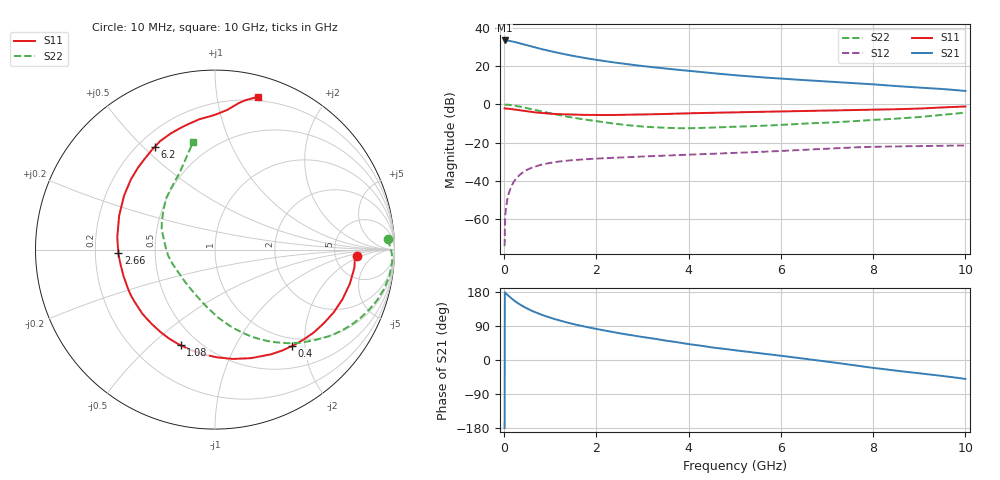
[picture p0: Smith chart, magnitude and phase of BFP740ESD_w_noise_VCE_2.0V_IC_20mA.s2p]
! Infineon Technologies  Discrete & RF Semiconductors
! BFP740ESD
! VCE =  2.0 V,  IC =  20 mA
! Common Emitter S-Parameters:  Jan 2016
# GHz  S  MA  R  50
!  f  S11  S21  S12  S22
! GHz  MAG  ANG  MAG  ANG  MAG  ANG  MAG  ANG
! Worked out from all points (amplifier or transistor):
!   233 points, 10 MHz to 10 GHz, reference 50 ohm
!   highest |S21| = 33.4 dB at 10 MHz (marker M1)
!   |S21| within 3 dB of that: start of sweep to 566.4 MHz
!   unconditionally stable (mu >= 1): 4.541 GHz to 7.656 GHz; 8.194 GHz to 8.668 GHz
!   at 200 MHz: K = 0.14, MSG = 36.8 dB, |S12| = -40.7 dB
!   at 1.74 GHz: K = 0.58, MSG = 26.5 dB, |S12| = -28.6 dB
!   at 10 GHz: K = 0.74, MSG = 14.2 dB, |S12| = -21.4 dB
!   lowest NFmin = 0.79 dB at 450 MHz
!   S11 on the Smith chart (normalised r, x): 10 MHz: 8.44, -1.52; 400 MHz: 0.86, -1.75; 1.08 GHz: 0.40, -0.63; 2.66 GHz: 0.30, -0.02; 6.2 GHz: 0.26, +0.54; 10 GHz: 0.17, +1.31
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0.01  0.7941 -2.4  46.86 -179.6  0.0002 123.7  0.9662 3.4
0.02  0.781 -2.9  46.38 177.8  0.0011 85.4  0.9854 -1.2
0.07  0.7785 -10.1  46.15 172.1  0.0034 82.9  0.9857 -6.0
0.1  0.775 -14.3  46.01 168.9  0.0048 83.0  0.9824 -8.8
0.2  0.7486 -27.7  43.64 158.5  0.0092 76.0  0.946 -17.4
0.3  0.7185 -40.0  40.63 149.6  0.0131 70.3  0.8976 -24.8
0.4  0.6881 -51.3  37.64 142.2  0.0166 64.8  0.8464 -31.5
0.5  0.6614 -61.9  34.87 135.7  0.0198 60.4  0.7959 -37.4
0.7  0.6175 -80.6  30.15 124.7  0.0247 52.9  0.7034 -47.5
0.9  0.5869 -96.8  26.32 115.6  0.0285 47.0  0.6238 -56.1
1.08  0.5665 -109.6  23.47 108.7  0.031 42.9  0.5616 -62.9
1.38  0.5461 -127.8  19.71 98.4  0.0342 37.5  0.4782 -72.9
1.68  0.5361 -142.4  16.92 90.0  0.0366 33.9  0.4164 -81.3
2.2  0.5308 -163.0  13.43 77.2  0.0397 29.7  0.3384 -94.7
2.66  0.5384 -178.1  11.29 67.4  0.042 27.3  0.289 -107.4
3.4  0.5608 162.9  8.918 53.3  0.0458 24.8  0.2489 -128.6
4.5  0.61 140.3  6.593 33.3  0.0518 21.1  0.2501 -161.9
5.1  0.6278 132.5  5.676 24.3  0.055 19.5  0.2648 -174.7
6.2  0.6642 120.2  4.561 8.2  0.0629 16.3  0.3017 164.2
6.8  0.6857 113.1  4.125 -1.1  0.0685 13.3  0.3274 154.8
8.4  0.7452 91.5  3.083 -26.7  0.0798 0.3  0.4193 125.8
10  0.8846 74.3  2.253 -49.9  0.0854 -11.2  0.6107 101.6
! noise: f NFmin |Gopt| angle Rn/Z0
0.45  0.79  0.01  -64  0.1
0.9  0.82  0.02  -139  0.09
1.9  0.83  0.05  -129  0.1
2.4  0.88  0.09  -127  0.11
5.5  1.04  0.29  -122  0.12
10  1.64  0.57  -85  0.53
